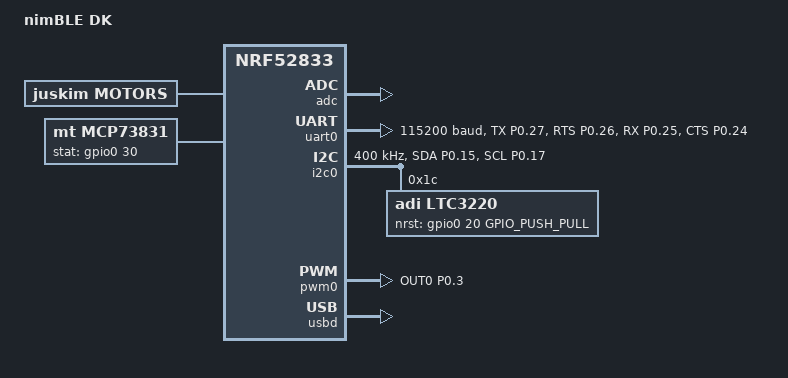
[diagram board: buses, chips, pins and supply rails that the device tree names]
// Copyright (c) 2023 juskim (GitHub: jus-kim, YouTube: @juskim)
// SPDX-License-Identifier: Apache-2.0

/dts-v1/;
#include <nordic/nrf52833_qiaa.dtsi>

/ {
	model = "nimBLE DK";
	compatible = "juskim,nimble-dk";

	chosen {
		zephyr,console = &cdc_acm_uart0;
		zephyr,shell-uart = &cdc_acm_uart0;
		//zephyr,uart-mcumgr = &cdc_acm_uart0;
		//zephyr,bt-mon-uart = &cdc_acm_uart0;
		//zephyr,bt-c2h-uart = &cdc_acm_uart0;
		zephyr,sram = &sram0;
		zephyr,flash = &flash0;
		zephyr,code-partition = &slot0_partition;
		nordic,uart0 = &uart0;
	};

	aliases {
		motors0 = &motors0;
		ltc3220 = &ltc3220;
		mcp73831 = &mcp73831;
	};

	motors {
		compatible = "juskim,motors";
		
		motors0: motors_0 {
			pwms = <&pwm0 0 PWM_USEC(5000) PWM_POLARITY_NORMAL>; // DC motor EN pin
			nsleep-gpios = <&gpio0 5 GPIO_PUSH_PULL>;
			en-gpios = <&gpio0 31 GPIO_PUSH_PULL>;
			dc-ph-gpios = <&gpio0 2 GPIO_PUSH_PULL>;
			step-step-gpios = <&gpio0 11 GPIO_PUSH_PULL>;
			step-dir-gpios = <&gpio0 4 GPIO_PUSH_PULL>;
			step-nrst-gpios = <&gpio1 9 GPIO_PUSH_PULL>;
			step-period-us = <250>;
		};
	};

	mcp73831: mcp73831 {
		compatible = "mt,mcp73831";
		stat-gpios = <&gpio0 30 GPIO_ACTIVE_HIGH>;
		maxcharge-ma = <200>;
	};
};

&adc {
	status = "okay";
};

&gpiote {
	status = "okay";
};

&gpio0 {
	status = "okay";
};

&gpio1 {
	status = "okay";
};

&uart0 {
	compatible = "nordic,nrf-uarte";
	status = "okay";
	current-speed = <115200>;
	pinctrl-0 = <&uart0_default>;
	pinctrl-1 = <&uart0_sleep>;
	pinctrl-names = "default", "sleep";
};

&i2c0 {
	compatible = "nordic,nrf-twim";
	status = "okay";
	pinctrl-0 = <&i2c0_default>;
	pinctrl-1 = <&i2c0_sleep>;
	pinctrl-names = "default", "sleep";
	clock-frequency = <I2C_BITRATE_FAST>;

	ltc3220: ltc3220@1c{
		compatible = "adi,ltc3220";
		reg = <0x1c>;
		nrst-gpios = <&gpio0 20 GPIO_PUSH_PULL>;
		led-count = <18>;
	};
};

&pwm0 {
	status = "okay";
	pinctrl-0 = <&pwm0_default>;
	pinctrl-1 = <&pwm0_sleep>;
	pinctrl-names = "default", "sleep";
};

&flash0 {

	partitions {
		compatible = "fixed-partitions";
		#address-cells = <1>;
		#size-cells = <1>;

		boot_partition: partition@0 {
			label = "mcuboot";
			reg = <0x00000000 0xC000>;
		};
		slot0_partition: partition@c000 {
			label = "image-0";
			reg = <0x0000C000 0x37000>;
		};
		slot1_partition: partition@43000 {
			label = "image-1";
			reg = <0x00043000 0x37000>;
		};
		storage_partition: partition@7a000 {
			label = "storage";
			reg = <0x0007A000 0x00006000>;
		};
	};
};

zephyr_udc0: &usbd {
	compatible = "nordic,nrf-usbd";
	status = "okay";
	cdc_acm_uart0: cdc_acm_uart0 {
		compatible = "zephyr,cdc-acm-uart";
	};
};

&pinctrl {
	uart0_default: uart0_default {
		group1 {
			psels = <NRF_PSEL(UART_TX, 0, 27)>,
				<NRF_PSEL(UART_RTS, 0, 26)>;
		};
		group2 {
			psels = <NRF_PSEL(UART_RX, 0, 25)>,
				<NRF_PSEL(UART_CTS, 0, 24)>;
			bias-pull-up;
		};
	};

	uart0_sleep: uart0_sleep {
		group1 {
			psels = <NRF_PSEL(UART_TX, 0, 27)>,
				<NRF_PSEL(UART_RX, 0, 25)>,
				<NRF_PSEL(UART_RTS, 0, 26)>,
				<NRF_PSEL(UART_CTS, 0, 24)>;
			low-power-enable;
		};
	};

	i2c0_default: i2c0_default {
		group1 {
			psels = <NRF_PSEL(TWIM_SDA, 0, 15)>,
				<NRF_PSEL(TWIM_SCL, 0, 17)>;
		};
	};

	i2c0_sleep: i2c0_sleep {
		group1 {
			psels = <NRF_PSEL(TWIM_SDA, 0, 15)>,
				<NRF_PSEL(TWIM_SCL, 0, 17)>;
			low-power-enable;
		};
	};

	pwm0_default: pwm0_default {
		group1 {
			psels = <NRF_PSEL(PWM_OUT0, 0, 3)>;	// Channel 0
			nordic,invert;
		};
	};

	pwm0_sleep: pwm0_sleep {
		group1 {
			psels = <NRF_PSEL(PWM_OUT0, 0, 3)>;	// Channel 0
			low-power-enable;
		};
	};
};
